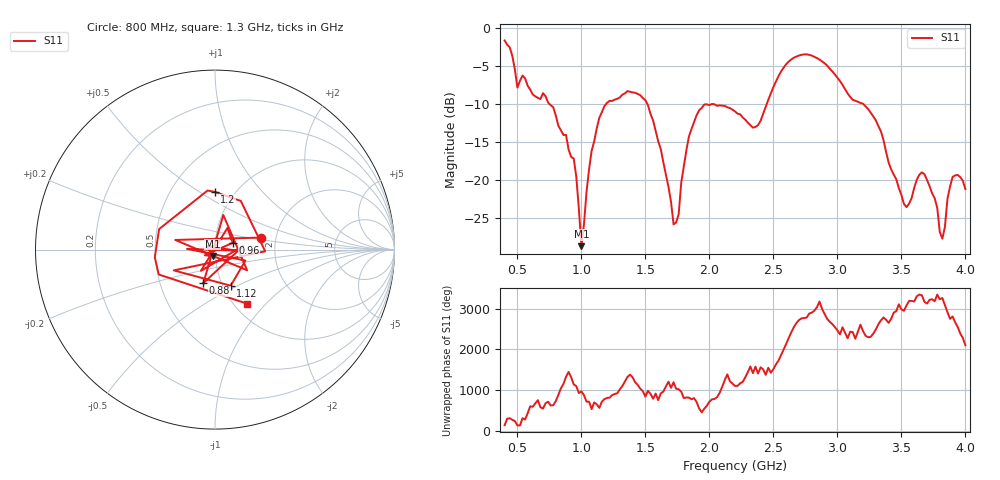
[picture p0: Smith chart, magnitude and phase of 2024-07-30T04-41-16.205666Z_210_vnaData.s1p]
!Created with skrf (http://scikit-rf.org).
# Hz S RI R 50.0
!freq ReS11 ImS11
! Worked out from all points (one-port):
!   181 points, 400 MHz to 4 GHz, reference 50 ohm
!   lowest |S11| = -28.7 dB at 1 GHz (marker M1), VSWR 1.08, Z = 48.7 - j3.4 ohm
!   |S11| at or under -10 dB: 751.5 MHz to 1.192 GHz (441 MHz wide, 45.4 % of centre); 1.516 GHz to 2.018 GHz (502.2 MHz wide, 28.4 % of centre); 3.203 GHz to end of sweep (the widest 3 of 4)
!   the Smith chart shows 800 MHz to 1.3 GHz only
!   S11 on the Smith chart (normalised r, x): 800 MHz: 1.67, +0.24; 880 MHz: 0.82, -0.32; 960 MHz: 1.21, +0.09; 1.12 GHz: 1.09, -0.46; 1.2 GHz: 0.81, +0.58; 1.3 GHz: 1.15, -0.79
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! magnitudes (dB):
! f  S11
! 400 MHz  -1.6
! 500 MHz  -7.8
! 800 MHz  -11.5
! 860 MHz  -14.1
! 880 MHz  -14.1
! 960 MHz  -19.5
! 1 GHz  -28.7
! 1.06 GHz  -18.6
! 1.12 GHz  -13.2
! 1.2 GHz  -9.8
! 1.3 GHz  -9.1
! 1.52 GHz  -10.1
! 1.62 GHz  -15.9
! 1.72 GHz  -25.8
! 1.76 GHz  -24.5
! 1.84 GHz  -14.3
! 1.92 GHz  -10.8
! 2.2 GHz  -11.0
! 2.38 GHz  -12.8
! 2.66 GHz  -3.9
! 2.86 GHz  -4.1
! 3.1 GHz  -9.1
! 3.3 GHz  -12.1
! 3.56 GHz  -23.1
! 3.68 GHz  -19.2
! 3.82 GHz  -27.7
! 3.9 GHz  -19.6
! 4 GHz  -21.2
